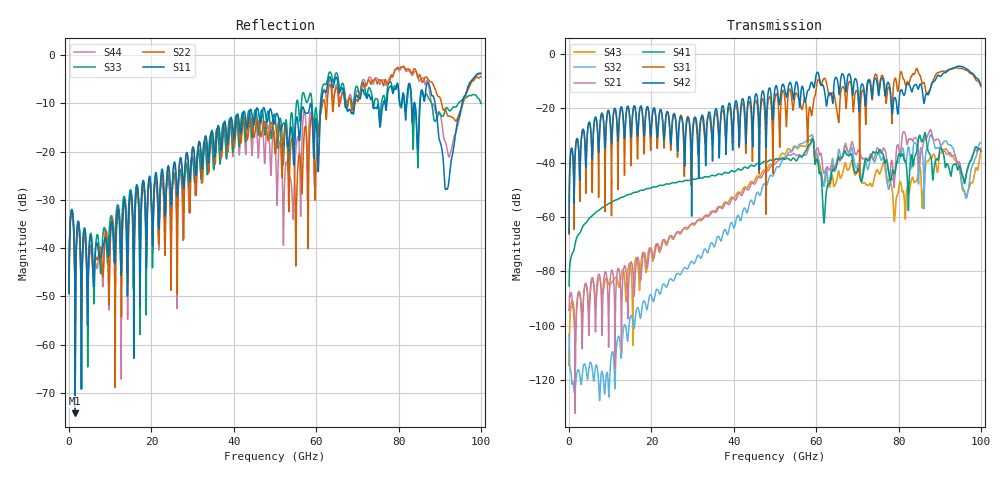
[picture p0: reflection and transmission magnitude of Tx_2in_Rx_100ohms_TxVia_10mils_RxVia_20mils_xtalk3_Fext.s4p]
! Info: Touchstone file created by Circ.  Input file=Tx_2in_Rx_100ohms_TxVia_10mils_RxVia_20mils.circ
# Hz S RI R 50
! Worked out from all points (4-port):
!   10000 points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, 10 MHz to 100 GHz, reference 50 ohm
!   strongest paths, dB at 10 MHz, 25.01 GHz, 50.01 GHz, 75.01 GHz, 100 GHz:
!     S42: -65.9, -26.4, -12.7, -13.8, -11.4
!     S31: -66.4, -25.7, -16.2, -10.9, -12.0
!     S41: -85.4, -47.4, -38.7, -36.6, -35.7
!     S21: -94.4, -67.1, -40.5, -34.7, -35.0
!     S32: -103.2, -83.2, -42.9, -36.7, -32.6
!     S43: -109.6, -67.8, -38.9, -43.1, -35.9
!   lowest |S11| = -74.2 dB at 1.5 GHz (marker M1), VSWR 1.00, Z = 50 + j0.00888 ohm
!   |S11| at or under -10 dB: start of sweep to 58.67 GHz; 58.69 GHz to 61.22 GHz (2.537 GHz wide, 4.23 % of centre); 88.87 GHz to 95.43 GHz (6.558 GHz wide, 7.12 % of centre) (the widest 3 of 10)
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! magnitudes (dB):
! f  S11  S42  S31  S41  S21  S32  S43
! 10 MHz  -49.5  -65.9  -66.4  -85.4  -94.4  -103.2  -109.6
! 1.5 GHz  -74.2  -36.2  -36.3  -69.7  -132.3  -122.8  -113.8
! 28.68 GHz  -20.3  -24.2  -23.2  -46.5  -63.9  -79.1  -64.5
! 58.73 GHz  -10.0  -10.6  -21.7  -32.5  -32.8  -30.1  -31.5
! 61.98 GHz  -7.4  -13.1  -8.9  -61.3  -43.8  -48.4  -46.8
! 91.69 GHz  -27.8  -6.5  -6.2  -40.4  -36.9  -32.3  -35.1
! 100 GHz  -3.8  -11.4  -12.0  -35.7  -35.0  -32.6  -35.9
